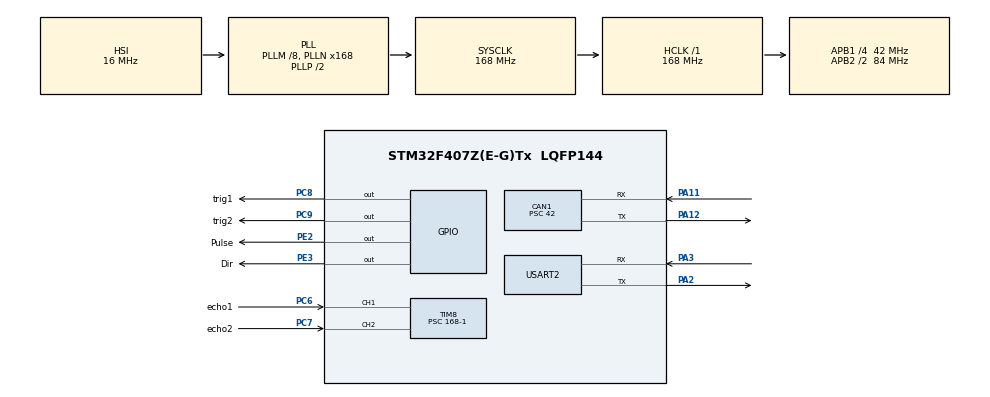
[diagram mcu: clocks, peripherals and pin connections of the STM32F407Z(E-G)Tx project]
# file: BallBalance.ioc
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CAN1.BS1=CAN_BS1_3TQ
CAN1.BS2=CAN_BS2_4TQ
CAN1.CalculateBaudRate=125000
CAN1.CalculateTimeBit=8000
CAN1.CalculateTimeQuantum=1000.0
CAN1.Prescaler=42
Mcu.Family=STM32F4
Mcu.Name=STM32F407Z(E-G)Tx
Mcu.Package=LQFP144
NVIC.PriorityGroup=NVIC_PRIORITYGROUP_4
NVIC.TIM3_IRQn=true\:0\:0\:false\:false\:true\:true\:true\:true
NVIC.TIM8_CC_IRQn=true\:0\:0\:false\:false\:true\:true\:true\:true
NVIC.USART2_IRQn=true\:0\:0\:false\:false\:true\:true\:true\:true
PA11.Mode=CAN_Activate
PA11.Signal=CAN1_RX
PA12.Mode=CAN_Activate
PA12.Signal=CAN1_TX
PA13.Mode=Serial_Wire
PA13.Signal=SYS_JTMS-SWDIO
PA14.Mode=Serial_Wire
PA14.Signal=SYS_JTCK-SWCLK
PA2.Mode=Asynchronous
PA2.Signal=USART2_TX
PA3.Mode=Asynchronous
PA3.Signal=USART2_RX
PC6.GPIO_Label=echo1
PC6.GPIO_PuPd=GPIO_PULLDOWN
PC6.GPIO_Speed=GPIO_SPEED_FREQ_HIGH
PC6.Signal=S_TIM8_CH1
PC7.GPIO_Label=echo2
PC7.GPIO_PuPd=GPIO_PULLDOWN
PC7.GPIO_Speed=GPIO_SPEED_FREQ_HIGH
PC7.Signal=S_TIM8_CH2
PC8.GPIO_Label=trig1
PC8.Signal=GPIO_Output
PC9.GPIO_Label=trig2
PC9.Signal=GPIO_Output
PE2.GPIO_Label=Pulse
PE2.GPIO_Speed=GPIO_SPEED_FREQ_HIGH
PE2.Signal=GPIO_Output
PE3.GPIO_Label=Dir
PE3.GPIO_Speed=GPIO_SPEED_FREQ_HIGH
PE3.Signal=GPIO_Output
ProjectManager.HeapSize=0x200
ProjectManager.StackSize=0x400
ProjectManager.TargetToolchain=STM32CubeIDE
RCC.48MHZClocksFreq_Value=84000000
RCC.AHBFreq_Value=168000000
RCC.APB1CLKDivider=RCC_HCLK_DIV4
RCC.APB1Freq_Value=42000000
RCC.APB1TimFreq_Value=84000000
RCC.APB2CLKDivider=RCC_HCLK_DIV2
RCC.APB2Freq_Value=84000000
RCC.APB2TimFreq_Value=168000000
RCC.CortexFreq_Value=168000000
RCC.HCLKFreq_Value=168000000
RCC.HSE_VALUE=25000000
RCC.HSI_VALUE=16000000
RCC.LSE_VALUE=32768
RCC.PLLM=8
RCC.PLLN=168
RCC.SYSCLKFreq_VALUE=168000000
RCC.SYSCLKSource=RCC_SYSCLKSOURCE_PLLCLK
RCC.VCOOutputFreq_Value=336000000
SH.S_TIM8_CH1.0=TIM8_CH1,Input_Capture1_from_TI1
SH.S_TIM8_CH2.0=TIM8_CH2,Input_Capture2_from_TI2
TIM3.Period=1
TIM3.Prescaler=7000-1
TIM8.Channel-Input_Capture1_from_TI1=TIM_CHANNEL_1
TIM8.Channel-Input_Capture2_from_TI2=TIM_CHANNEL_2
TIM8.Period=0xffff-1
TIM8.Prescaler=168-1
USART2.VirtualMode=VM_ASYNC
VP_TIM3_VS_ClockSourceINT.Mode=Internal
board=custom

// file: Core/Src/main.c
/* USER CODE BEGIN Header */
/**
  ******************************************************************************
  * @file           : main.c
  * @brief          : Main program body
  ******************************************************************************
  * @attention
  *
  * Copyright (c) 2023 STMicroelectronics.
  * All rights reserved.
  *
  * This software is licensed under terms that can be found in the LICENSE file
  * in the root directory of this software component.
  * If no LICENSE file comes with this software, it is provided AS-IS.
  *
  ******************************************************************************
  */
/* USER CODE END Header */
#include "main.h"

/* USER CODE BEGIN Includes */
#include <string.h>
#include <stdlib.h>
#include <stdio.h>
#include "pid.h"
/* USER CODE END Includes */

CAN_HandleTypeDef hcan1;

TIM_HandleTypeDef htim3;
TIM_HandleTypeDef htim8;

UART_HandleTypeDef huart2;

/* USER CODE BEGIN PV */
PID_TypeDef TPID;
double p = 8; //kp
double i = 1;  //ki
double d = 11; //kd
double PIDOut = 0;
double setposition = 0;
double actualDistancedouble = 0;

uint32_t IC_Val11 = 0;
uint32_t IC_Val21 = 0;
uint32_t Difference1 = 0;
uint8_t Is_First_Captured1 = 0;
uint32_t Distance1  = 0;

uint32_t IC_Val12 = 0;
uint32_t IC_Val22 = 0;
uint32_t Difference2 = 0;
uint8_t Is_First_Captured2 = 0;
uint32_t Distance2  = 0;

int32_t actualDistance = 0; //from center

uint8_t recvd_data=0x0; // receive buffer for UART
uint8_t data_buffer[100]; // data buffer for UART
uint8_t uartsendbuffer[100];
uint32_t countuart=0; // count how many bytes are received from UART

int32_t actualposition = 0; //actual position
int32_t destposition = 0; //destination position
uint8_t pulsestatus = 0; //pulse status

double actualpositiondouble = 0;
int32_t actualpositionforsend = 0;

int size_len;
/* USER CODE END PV */

void SystemClock_Config(void);
static void MX_GPIO_Init(void);
static void MX_CAN1_Init(void);
static void MX_TIM3_Init(void);
static void MX_USART2_UART_Init(void);
static void MX_TIM8_Init(void);
/* USER CODE BEGIN PFP */

void moveto(int32_t degree){ //move motor to target position example:123.45
	if(degree>-4500){
		if(degree<4500){
			destposition = -(degree*25)/100;
		}
	}
}

void delay (uint16_t time)
{
	__HAL_TIM_SET_COUNTER(&htim8, 0);
	while (__HAL_TIM_GET_COUNTER (&htim8) < time);
}

void SR05_Read1 (void){
	HAL_GPIO_WritePin(trig1_GPIO_Port, trig1_Pin, GPIO_PIN_SET);  // pull the TRIG pin HIGH
	delay(10);
	HAL_GPIO_WritePin(trig1_GPIO_Port, trig1_Pin, GPIO_PIN_RESET);  // pull the TRIG pin low
	__HAL_TIM_ENABLE_IT(&htim8, TIM_IT_CC1);
}

void SR05_Read2 (void){
	HAL_GPIO_WritePin(trig2_GPIO_Port, trig2_Pin, GPIO_PIN_SET);  // pull the TRIG pin HIGH
	delay(10);
	HAL_GPIO_WritePin(trig2_GPIO_Port, trig2_Pin, GPIO_PIN_RESET);  // pull the TRIG pin low
	__HAL_TIM_ENABLE_IT(&htim8, TIM_IT_CC2);
}

/* USER CODE END PFP */

int main(void)
{

  /* MCU Configuration--------------------------------------------------------*/

  /* Reset of all peripherals, Initializes the Flash interface and the Systick. */
  HAL_Init();

  /* Configure the system clock */
  SystemClock_Config();

  /* Initialize all configured peripherals */
  MX_GPIO_Init();
  MX_CAN1_Init();
  MX_TIM3_Init();
  MX_USART2_UART_Init();
  MX_TIM8_Init();
  /* USER CODE BEGIN 2 */
  HAL_TIM_Base_Start_IT(&htim3);
  HAL_UART_Receive_IT(&huart2,&recvd_data,1); //receive data from data buffer interrupt mode

  HAL_TIM_IC_Start_IT(&htim8, TIM_CHANNEL_1);
  HAL_TIM_IC_Start_IT(&htim8, TIM_CHANNEL_2);

  PID(&TPID, &actualDistancedouble, &PIDOut, &setposition, p, i, d, _PID_P_ON_E, _PID_CD_DIRECT);
  PID_SetMode(&TPID, _PID_MODE_AUTOMATIC);
  PID_SetSampleTime(&TPID, 10);
  PID_SetOutputLimits(&TPID, -3000, 3000);

  /* USER CODE END 2 */

  /* Infinite loop */
  /* USER CODE BEGIN WHILE */
  while (1)
  {
	  //SR05_Read1();
	  SR05_Read2();
	  Distance1 = Distance1;
	  Distance2 = Distance2;
	  actualDistance = -(24-Distance2);
	  actualDistancedouble = actualDistance;
	  HAL_Delay(10);
	  PID_Compute(&TPID);
	  moveto(PIDOut);
	  actualpositionforsend = (actualposition*100)/25;
	  size_len = sprintf(uartsendbuffer, "%d,",actualDistance);
	  HAL_UART_Transmit(&huart2,uartsendbuffer,size_len ,HAL_MAX_DELAY);
	  size_len = sprintf(uartsendbuffer, "%d\r\n",actualpositionforsend);
	  HAL_UART_Transmit(&huart2,uartsendbuffer,size_len ,HAL_MAX_DELAY);
	  //sprintf(uartsendbuffer, "%d\r\n",PIDOut);
	  //HAL_UART_Transmit(&huart2,uartsendbuffer,sizeof(uartsendbuffer),HAL_MAX_DELAY);
    /* USER CODE END WHILE */

  }
}

void SystemClock_Config(void)
{
  RCC_OscInitTypeDef RCC_OscInitStruct = {0};
  RCC_ClkInitTypeDef RCC_ClkInitStruct = {0};

  /** Configure the main internal regulator output voltage
  */
  __HAL_RCC_PWR_CLK_ENABLE();
  __HAL_PWR_VOLTAGESCALING_CONFIG(PWR_REGULATOR_VOLTAGE_SCALE1);

  /** Initializes the RCC Oscillators according to the specified parameters
  * in the RCC_OscInitTypeDef structure.
  */
  RCC_OscInitStruct.OscillatorType = RCC_OSCILLATORTYPE_HSI;
  RCC_OscInitStruct.HSIState = RCC_HSI_ON;
  RCC_OscInitStruct.HSICalibrationValue = RCC_HSICALIBRATION_DEFAULT;
  RCC_OscInitStruct.PLL.PLLState = RCC_PLL_ON;
  RCC_OscInitStruct.PLL.PLLSource = RCC_PLLSOURCE_HSI;
  RCC_OscInitStruct.PLL.PLLM = 8;
  RCC_OscInitStruct.PLL.PLLN = 168;
  RCC_OscInitStruct.PLL.PLLP = RCC_PLLP_DIV2;
  RCC_OscInitStruct.PLL.PLLQ = 4;
  if (HAL_RCC_OscConfig(&RCC_OscInitStruct) != HAL_OK)
  {
    Error_Handler();
  }

  /** Initializes the CPU, AHB and APB buses clocks
  */
  RCC_ClkInitStruct.ClockType = RCC_CLOCKTYPE_HCLK|RCC_CLOCKTYPE_SYSCLK
                              |RCC_CLOCKTYPE_PCLK1|RCC_CLOCKTYPE_PCLK2;
  RCC_ClkInitStruct.SYSCLKSource = RCC_SYSCLKSOURCE_PLLCLK;
  RCC_ClkInitStruct.AHBCLKDivider = RCC_SYSCLK_DIV1;
  RCC_ClkInitStruct.APB1CLKDivider = RCC_HCLK_DIV4;
  RCC_ClkInitStruct.APB2CLKDivider = RCC_HCLK_DIV2;

  if (HAL_RCC_ClockConfig(&RCC_ClkInitStruct, FLASH_LATENCY_5) != HAL_OK)
  {
    Error_Handler();
  }
}

static void MX_CAN1_Init(void)
{

  hcan1.Instance = CAN1;
  hcan1.Init.Prescaler = 42;
  hcan1.Init.Mode = CAN_MODE_NORMAL;
  hcan1.Init.SyncJumpWidth = CAN_SJW_1TQ;
  hcan1.Init.TimeSeg1 = CAN_BS1_3TQ;
  hcan1.Init.TimeSeg2 = CAN_BS2_4TQ;
  hcan1.Init.TimeTriggeredMode = DISABLE;
  hcan1.Init.AutoBusOff = DISABLE;
  hcan1.Init.AutoWakeUp = DISABLE;
  hcan1.Init.AutoRetransmission = DISABLE;
  hcan1.Init.ReceiveFifoLocked = DISABLE;
  hcan1.Init.TransmitFifoPriority = DISABLE;
  if (HAL_CAN_Init(&hcan1) != HAL_OK)
  {
    Error_Handler();
  }

}

static void MX_TIM3_Init(void)
{

  TIM_ClockConfigTypeDef sClockSourceConfig = {0};
  TIM_MasterConfigTypeDef sMasterConfig = {0};

  htim3.Instance = TIM3;
  htim3.Init.Prescaler = 7000-1;
  htim3.Init.CounterMode = TIM_COUNTERMODE_UP;
  htim3.Init.Period = 1;
  htim3.Init.ClockDivision = TIM_CLOCKDIVISION_DIV1;
  htim3.Init.AutoReloadPreload = TIM_AUTORELOAD_PRELOAD_DISABLE;
  if (HAL_TIM_Base_Init(&htim3) != HAL_OK)
  {
    Error_Handler();
  }
  sClockSourceConfig.ClockSource = TIM_CLOCKSOURCE_INTERNAL;
  if (HAL_TIM_ConfigClockSource(&htim3, &sClockSourceConfig) != HAL_OK)
  {
    Error_Handler();
  }
  sMasterConfig.MasterOutputTrigger = TIM_TRGO_RESET;
  sMasterConfig.MasterSlaveMode = TIM_MASTERSLAVEMODE_DISABLE;
  if (HAL_TIMEx_MasterConfigSynchronization(&htim3, &sMasterConfig) != HAL_OK)
  {
    Error_Handler();
  }

}

static void MX_TIM8_Init(void)
{

  TIM_MasterConfigTypeDef sMasterConfig = {0};
  TIM_IC_InitTypeDef sConfigIC = {0};

  htim8.Instance = TIM8;
  htim8.Init.Prescaler = 168-1;
  htim8.Init.CounterMode = TIM_COUNTERMODE_UP;
  htim8.Init.Period = 0xffff-1;
  htim8.Init.ClockDivision = TIM_CLOCKDIVISION_DIV1;
  htim8.Init.RepetitionCounter = 0;
  htim8.Init.AutoReloadPreload = TIM_AUTORELOAD_PRELOAD_DISABLE;
  if (HAL_TIM_IC_Init(&htim8) != HAL_OK)
  {
    Error_Handler();
  }
  sMasterConfig.MasterOutputTrigger = TIM_TRGO_RESET;
  sMasterConfig.MasterSlaveMode = TIM_MASTERSLAVEMODE_DISABLE;
  if (HAL_TIMEx_MasterConfigSynchronization(&htim8, &sMasterConfig) != HAL_OK)
  {
    Error_Handler();
  }
  sConfigIC.ICPolarity = TIM_INPUTCHANNELPOLARITY_RISING;
  sConfigIC.ICSelection = TIM_ICSELECTION_DIRECTTI;
  sConfigIC.ICPrescaler = TIM_ICPSC_DIV1;
  sConfigIC.ICFilter = 0;
  if (HAL_TIM_IC_ConfigChannel(&htim8, &sConfigIC, TIM_CHANNEL_1) != HAL_OK)
  {
    Error_Handler();
  }
  if (HAL_TIM_IC_ConfigChannel(&htim8, &sConfigIC, TIM_CHANNEL_2) != HAL_OK)
  {
    Error_Handler();
  }

}

static void MX_USART2_UART_Init(void)
{

  huart2.Instance = USART2;
  huart2.Init.BaudRate = 115200;
  huart2.Init.WordLength = UART_WORDLENGTH_8B;
  huart2.Init.StopBits = UART_STOPBITS_1;
  huart2.Init.Parity = UART_PARITY_NONE;
  huart2.Init.Mode = UART_MODE_TX_RX;
  huart2.Init.HwFlowCtl = UART_HWCONTROL_NONE;
  huart2.Init.OverSampling = UART_OVERSAMPLING_16;
  if (HAL_UART_Init(&huart2) != HAL_OK)
  {
    Error_Handler();
  }

}

static void MX_GPIO_Init(void)
{
  GPIO_InitTypeDef GPIO_InitStruct = {0};

  /* GPIO Ports Clock Enable */
  __HAL_RCC_GPIOE_CLK_ENABLE();
  __HAL_RCC_GPIOA_CLK_ENABLE();
  __HAL_RCC_GPIOC_CLK_ENABLE();

  /*Configure GPIO pin Output Level */
  HAL_GPIO_WritePin(GPIOE, Pulse_Pin|Dir_Pin, GPIO_PIN_RESET);

  /*Configure GPIO pin Output Level */
  HAL_GPIO_WritePin(GPIOC, trig1_Pin|trig2_Pin, GPIO_PIN_RESET);

  /*Configure GPIO pins : Pulse_Pin Dir_Pin */
  GPIO_InitStruct.Pin = Pulse_Pin|Dir_Pin;
  GPIO_InitStruct.Mode = GPIO_MODE_OUTPUT_PP;
  GPIO_InitStruct.Pull = GPIO_NOPULL;
  GPIO_InitStruct.Speed = GPIO_SPEED_FREQ_HIGH;
  HAL_GPIO_Init(GPIOE, &GPIO_InitStruct);

  /*Configure GPIO pins : trig1_Pin trig2_Pin */
  GPIO_InitStruct.Pin = trig1_Pin|trig2_Pin;
  GPIO_InitStruct.Mode = GPIO_MODE_OUTPUT_PP;
  GPIO_InitStruct.Pull = GPIO_NOPULL;
  GPIO_InitStruct.Speed = GPIO_SPEED_FREQ_LOW;
  HAL_GPIO_Init(GPIOC, &GPIO_InitStruct);

}

/* USER CODE BEGIN 4 */

void HAL_UART_RxCpltCallback(UART_HandleTypeDef *huart)
{
	 if(recvd_data == '\r' || recvd_data == 'p'  || recvd_data == 'i' || recvd_data == 'd' || recvd_data == 'm') //when enter is pressed go to this condition
	 {
		 data_buffer[countuart++]='\r';
		 //HAL_UART_Transmit(huart,data_buffer,countuart,HAL_MAX_DELAY); //transmit the full sentence again

		 //moveto(atol(data_buffer));
		 //sprintf(uartsendbuffer, "%d\r\n",Distance1);
		 int32_t temp = atol(data_buffer);
		 if(recvd_data=='p')p = temp;
		 if(recvd_data=='i')i = temp;
		 if(recvd_data=='d')d = temp;
		 if(recvd_data=='m')setposition = temp;

		 PID(&TPID, &actualDistancedouble, &PIDOut, &setposition, p, i, d, _PID_P_ON_E, _PID_CD_DIRECT);
		 PID_SetMode(&TPID, _PID_MODE_AUTOMATIC);
		 PID_SetSampleTime(&TPID, 10);
		 PID_SetOutputLimits(&TPID, -3000, 3000);
		 //HAL_UART_Transmit(huart,data_buffer,10,HAL_MAX_DELAY);
		 //sprintf(data_buffer, "%d\r\n",destposition);
		 //HAL_UART_Transmit(huart,data_buffer,countuart,HAL_MAX_DELAY);

		 memset(data_buffer, 0, countuart); // enpty the data buffer
		 countuart=0;
	 }
	 else
	 {
		 data_buffer[countuart++] = recvd_data; // every time when interrput is happen, received 1 byte of data
	 }
	 HAL_UART_Receive_IT(&huart2,&recvd_data,1); //start next data receive interrupt
}

void HAL_TIM_PeriodElapsedCallback(TIM_HandleTypeDef *htim)
{
	if(htim==&htim3)
	{
		if(pulsestatus==1)
		{
			HAL_GPIO_WritePin(Pulse_GPIO_Port, Pulse_Pin, GPIO_PIN_RESET);
			pulsestatus = 0;
		}
		else
		{
			if(destposition>=actualposition){
				HAL_GPIO_WritePin(Dir_GPIO_Port, Dir_Pin, GPIO_PIN_RESET);
				actualposition++;
				HAL_GPIO_WritePin(Pulse_GPIO_Port, Pulse_Pin, GPIO_PIN_SET);
				pulsestatus = 1;
			}
			else if(destposition<actualposition){
				HAL_GPIO_WritePin(Dir_GPIO_Port, Dir_Pin, GPIO_PIN_SET);
				actualposition--;
				HAL_GPIO_WritePin(Pulse_GPIO_Port, Pulse_Pin, GPIO_PIN_SET);
				pulsestatus = 1;
			}

		}
		HAL_GPIO_TogglePin(Pulse_GPIO_Port, Pulse_Pin);
	}
}

//SR05_Read
void input_capture1(void)
	{
		if (Is_First_Captured1==0)
		{
			IC_Val11 = HAL_TIM_ReadCapturedValue(&htim8, TIM_CHANNEL_1);
			Is_First_Captured1 = 1;

			__HAL_TIM_SET_CAPTUREPOLARITY(&htim8, TIM_CHANNEL_1, TIM_INPUTCHANNELPOLARITY_FALLING);
		}
		else if (Is_First_Captured1==1)
		{
			IC_Val21 = HAL_TIM_ReadCapturedValue(&htim8, TIM_CHANNEL_1);
			__HAL_TIM_SET_COUNTER(&htim8, 0);

			if (IC_Val21 > IC_Val11)
			{
				Difference1 = IC_Val21-IC_Val11;
				if(((Difference1*2)/100)<60) Distance1 = (Difference1*2)/100;
			}

			Is_First_Captured1 = 0;

			__HAL_TIM_SET_CAPTUREPOLARITY(&htim8, TIM_CHANNEL_1, TIM_INPUTCHANNELPOLARITY_RISING);
			__HAL_TIM_DISABLE_IT(&htim8, TIM_IT_CC1);
			}
}

void input_capture2(void)
	{
		if (Is_First_Captured2==0)
		{
			IC_Val12 = HAL_TIM_ReadCapturedValue(&htim8, TIM_CHANNEL_2);
			Is_First_Captured2 = 1;

			__HAL_TIM_SET_CAPTUREPOLARITY(&htim8, TIM_CHANNEL_2, TIM_INPUTCHANNELPOLARITY_FALLING);
		}
		else if (Is_First_Captured2==1)
		{
			IC_Val22 = HAL_TIM_ReadCapturedValue(&htim8, TIM_CHANNEL_2);
			__HAL_TIM_SET_COUNTER(&htim8, 0);

			if (IC_Val22 > IC_Val12)
			{
				Difference2 = IC_Val22-IC_Val12;
				if(((Difference2*2)/100)<60) Distance2 = (Difference2*2)/100;
			}

			Is_First_Captured2 = 0;

			__HAL_TIM_SET_CAPTUREPOLARITY(&htim8, TIM_CHANNEL_2, TIM_INPUTCHANNELPOLARITY_RISING);
			__HAL_TIM_DISABLE_IT(&htim8, TIM_IT_CC2);
			}
}

void HAL_TIM_IC_CaptureCallback(TIM_HandleTypeDef *htim)
{
	if (htim->Channel == HAL_TIM_ACTIVE_CHANNEL_1)
	{
		input_capture1();
	}
	if (htim->Channel == HAL_TIM_ACTIVE_CHANNEL_2)
	{
		input_capture2();
	}
}
/* USER CODE END 4 */

void Error_Handler(void)
{
  __disable_irq();
  while (1)
  {
  }
}
